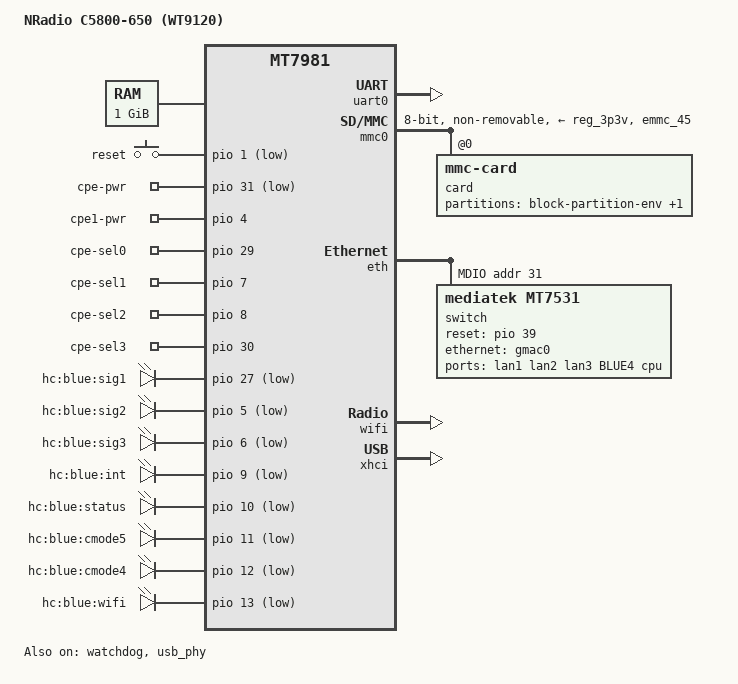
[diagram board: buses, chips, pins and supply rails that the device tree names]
// SPDX-License-Identifier: GPL-2.0-or-later OR MIT

/dts-v1/;

#include "mt7981.dtsi"

/ {
	model = "NRadio C5800-650 (WT9120)";
	compatible = "nradio,wt9120", "mediatek,mt7981";

	aliases {
		ethernet0 = &gmac0;
		led-boot = &led_status;
		led-failsafe = &led_status;
		led-running = &led_status;
		led-upgrade = &led_status;
		serial0 = &uart0;
	};

	chosen {
		stdout-path = "serial0:115200n1";
		bootargs = "console=ttyS0,115200n1 root=PARTLABEL=rootfs_2nd rootwait";
	};

	memory@40000000 {
		device_type = "memory";
		reg = <0 0x40000000 0 0x40000000>;
	};

	gpio-keys {
		compatible = "gpio-keys";

		reset {
			label = "reset";
			linux,code = <KEY_RESTART>;
			gpios = <&pio 1 GPIO_ACTIVE_LOW>;
		};
	};

	gpio-export {
		compatible = "gpio-export";
		#size-cells = <0>;

		cpepower {
			gpio-export,name = "cpe-pwr";
			gpio-export,output = <0>;
			gpios = <&pio 31 GPIO_ACTIVE_LOW>;
		};

		cpepower2 {
			gpio-export,name = "cpe1-pwr";
			gpio-export,output = <1>;
			gpios = <&pio 4 GPIO_ACTIVE_HIGH>;
		};

		cpesel0 {
			gpio-export,name = "cpe-sel0";
			gpio-export,output = <0>;
			gpios = <&pio 29 GPIO_ACTIVE_HIGH>;
		};

		cpesel1 {
			gpio-export,name = "cpe-sel1";
			gpio-export,output = <1>;
			gpios = <&pio 7 GPIO_ACTIVE_HIGH>;
		};

		cpesel2 {
			gpio-export,name = "cpe-sel2";
			gpio-export,output = <1>;
			gpios = <&pio 8 GPIO_ACTIVE_HIGH>;
		};

		cpesel3 {
			gpio-export,name = "cpe-sel3";
			gpio-export,output = <1>;
			gpios = <&pio 30 GPIO_ACTIVE_HIGH>;
		};
	};

	leds {
		compatible = "gpio-leds";

		led-signal-1 {
			label = "hc:blue:sig1";
			gpios = <&pio 27 GPIO_ACTIVE_LOW>;
		};

		led-signal-2 {
			label = "hc:blue:sig2";
			gpios = <&pio 5 GPIO_ACTIVE_LOW>;
		};

		led-signal-3 {
			label = "hc:blue:sig3";
			gpios = <&pio 6 GPIO_ACTIVE_LOW>;
		};

		led-internet {
			label = "hc:blue:int";
			gpios = <&pio 9 GPIO_ACTIVE_LOW>;
		};

		led_status: led-status {
			label = "hc:blue:status";
			gpios = <&pio 10 GPIO_ACTIVE_LOW>;
		};

		led-cellular-5g {
			label = "hc:blue:cmode5";
			gpios = <&pio 11 GPIO_ACTIVE_LOW>;
		};

		led-cellular-4g {
			label = "hc:blue:cmode4";
			gpios = <&pio 12 GPIO_ACTIVE_LOW>;
		};

		led-wifi {
			label = "hc:blue:wifi";
			gpios = <&pio 13 GPIO_ACTIVE_LOW>;
		};
	};
};

&uart0 {
	status = "okay";
};

&watchdog {
	status = "okay";
};

&mmc0 {
	#address-cells = <1>;
	#size-cells = <0>;
	pinctrl-names = "default", "state_uhs";
	pinctrl-0 = <&mmc0_pins_default>;
	pinctrl-1 = <&mmc0_pins_uhs>;
	bus-width = <8>;
	max-frequency = <52000000>;
	cap-mmc-highspeed;
	vmmc-supply = <&reg_3p3v>;
	non-removable;
	status = "okay";

	card@0 {
		compatible = "mmc-card";
		reg = <0>;

		block {
			compatible = "block-device";

			partitions {
				block-partition-env {
					partname = "u-boot-env";

					nvmem-layout {
						compatible = "u-boot,env";
					};
				};

				block-partition-factory {
					partname = "factory";

					nvmem-layout {
						compatible = "fixed-layout";
						#address-cells = <1>;
						#size-cells = <1>;

						eeprom_factory_0: eeprom@0 {
							reg = <0x0 0x1000>;
						};

						macaddr_factory_4: macaddr@4 {
							compatible = "mac-base";
							reg = <0x4 0x6>;
							#nvmem-cell-cells = <1>;
						};
					};
				};
			};
		};
	};
};

&pio {
	mmc0_pins_default: mmc0-pins-default {
		mux {
			function = "flash";
			groups = "emmc_45";
		};
	};

	mmc0_pins_uhs: mmc0-pins-uhs {
		mux {
			function = "flash";
			groups = "emmc_45";
		};
	};
};

&eth {
	status = "okay";

	gmac0: mac@0 {
		compatible = "mediatek,eth-mac";
		reg = <0>;
		nvmem-cells = <&macaddr_factory_4 (-1)>;
		nvmem-cell-names = "mac-address";
		phy-mode = "2500base-x";

		fixed-link {
			speed = <2500>;
			full-duplex;
			pause;
		};
	};

	mdio: mdio-bus {
		#address-cells = <1>;
		#size-cells = <0>;

		switch@1f {
			compatible = "mediatek,mt7531";
			reg = <31>;
			reset-gpios = <&pio 39 GPIO_ACTIVE_HIGH>;

			ports {
				#address-cells = <1>;
				#size-cells = <0>;

				port@1 {
					reg = <1>;
					label = "lan1";
				};

				port@2 {
					reg = <2>;
					label = "lan2";
				};

				port@3 {
					reg = <3>;
					label = "lan3";
				};

				port@4 {
					reg = <4>;
					label = "BLUE4";
				};

				port@6 {
					reg = <6>;
					label = "cpu";
					ethernet = <&gmac0>;
					phy-mode = "2500base-x";

					fixed-link {
						speed = <2500>;
						full-duplex;
						pause;
					};
				};
			};
		};
	};
};

&usb_phy {
	status = "okay";
};

&wifi {
	nvmem-cells = <&eeprom_factory_0>;
	nvmem-cell-names = "eeprom";
	status = "okay";
};

&xhci {
	status = "okay";
};
